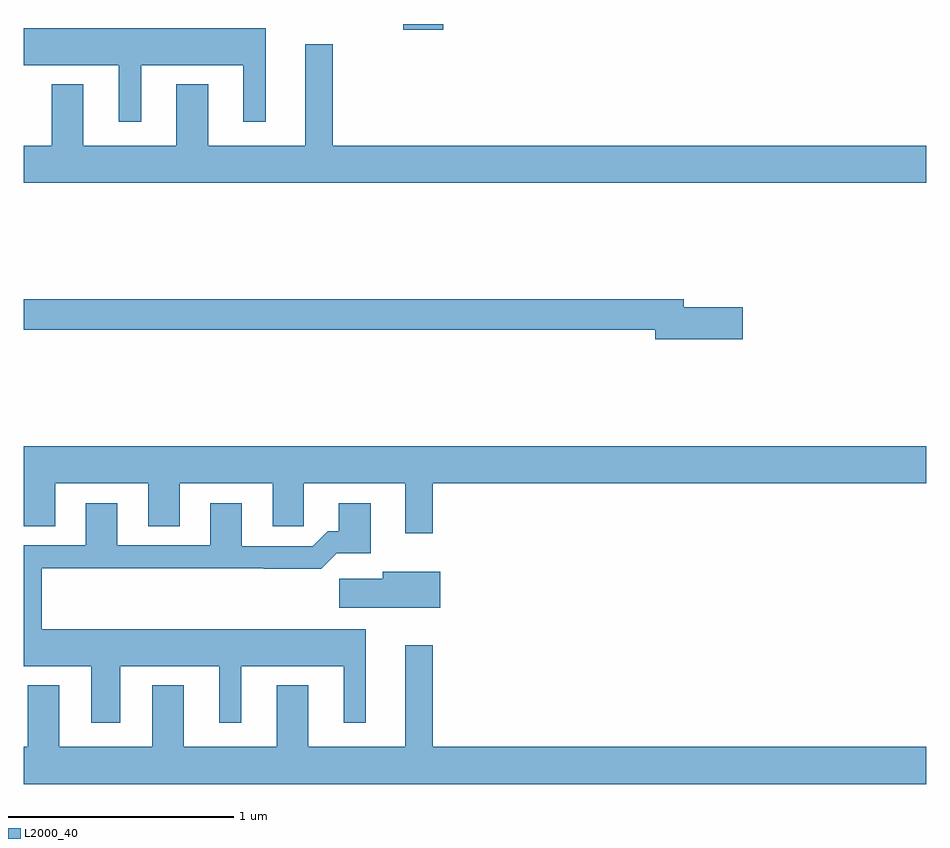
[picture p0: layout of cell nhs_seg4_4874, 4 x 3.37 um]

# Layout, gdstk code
import gdstk
lib = gdstk.Library(unit=1e-6, precision=1e-09)
def R(c, l, rs):  # rectangles x0, y0, x1, y1
    for r in rs: c.add(gdstk.rectangle(r[:2], r[2:], *l))
def P(c, l, *ps):  # polygons
    for p in ps: c.add(gdstk.Polygon(p, *l))
L2000_40 = (2000, 40)

nhs_seg4_4874 = lib.new_cell('nhs_seg4_4874')
R(nhs_seg4_4874, L2000_40, [(376.681,754.875,376.859,754.9)])
P(nhs_seg4_4874, L2000_40, [(375.52,754.718),(375.974,754.718),(375.974,754.467),(376.072,754.467),(376.072,754.882),(375,754.882),(375,754.718),(375.422,754.718),(375.422,754.467),(375.52,754.467)],
  [(379,754.36),(376.369,754.36),(376.369,754.81),(376.247,754.81),(376.247,754.36),(375.817,754.36),(375.817,754.633),(375.677,754.633),(375.677,754.36),(375.265,754.36),(375.265,754.633),(375.125,754.633),(375.125,754.36),(375,754.36),(375,754.196),(379,754.196)],
  [(378.187,753.644),(377.926,753.644),(377.926,753.68),(375,753.68),(375,753.544),(377.798,753.544),(377.798,753.502),(378.187,753.502)],
  [(376.813,752.864),(379,752.864),(379,753.028),(375,753.028),(375,752.674),(375.139,752.674),(375.139,752.864),(375.551,752.864),(375.551,752.674),(375.691,752.674),(375.691,752.864),(376.103,752.864),(376.103,752.674),(376.242,752.674),(376.242,752.864),(376.691,752.864),(376.691,752.643),(376.813,752.643)],
  [(375.427,752.054),(375.866,752.054),(375.866,751.803),(375.964,751.803),(375.964,752.054),(376.418,752.054),(376.418,751.803),(376.516,751.803),(376.516,752.218),(375.079,752.218),(375.079,752.488),(376.063,752.488),(376.063,752.486),(376.319,752.486),(376.388,752.555),(376.537,752.555),(376.537,752.776),(376.397,752.776),(376.397,752.653),(376.348,752.653),(376.281,752.586),(375.967,752.586),(375.967,752.776),(375.827,752.776),(375.827,752.589),(375.415,752.589),(375.415,752.776),(375.275,752.776),(375.275,752.589),(375,752.589),(375,752.054),(375.299,752.054),(375.299,751.803),(375.427,751.803)],
  [(376.846,752.473),(376.592,752.473),(376.592,752.441),(376.398,752.441),(376.398,752.312),(376.846,752.312)],
  [(375.017,751.969),(375.017,751.696),(375,751.696),(375,751.532),(379,751.532),(379,751.696),(376.813,751.696),(376.813,752.146),(376.691,752.146),(376.691,751.696),(376.261,751.696),(376.261,751.969),(376.121,751.969),(376.121,751.696),(375.709,751.696),(375.709,751.969),(375.569,751.969),(375.569,751.696),(375.157,751.696),(375.157,751.969)])

lib.write_gds('nhs_seg4_4874.gds')
